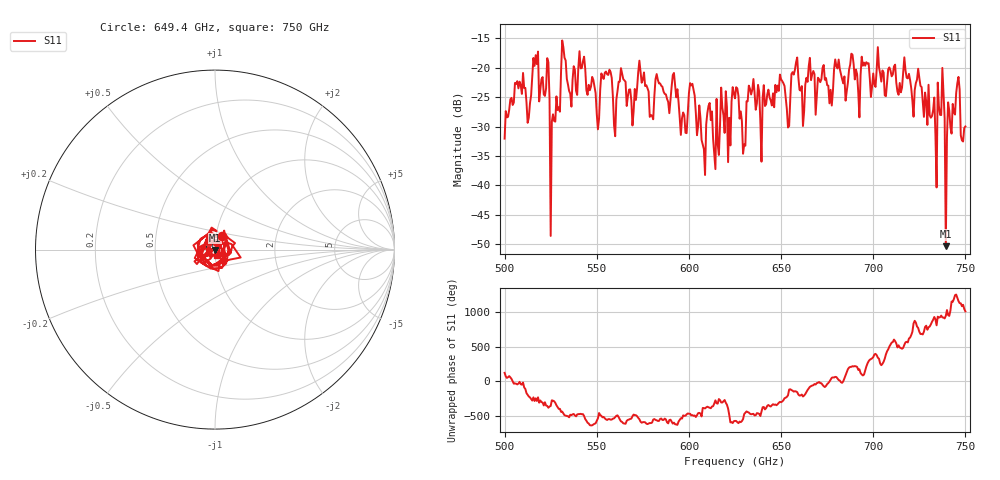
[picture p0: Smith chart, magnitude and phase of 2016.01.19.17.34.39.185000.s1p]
!Created with skrf (http://scikit-rf.org).
# GHz S RI R 50.0
!freq ReS11 ImS11
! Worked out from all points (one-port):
!   401 points, 500 GHz to 750 GHz, reference 50 ohm
!   lowest |S11| = -50.3 dB at 739.4 GHz (marker M1), VSWR 1.01, Z = 49.8 - j0.227 ohm
!   |S11| at or under -10 dB: start of sweep to end of sweep
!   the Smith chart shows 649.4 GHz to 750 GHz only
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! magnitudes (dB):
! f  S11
! 500 GHz  -32.0
! 506.9 GHz  -22.3
! 513.1 GHz  -28.5
! 516.9 GHz  -17.9
! 523.1 GHz  -18.4
! 526.2 GHz  -27.9
! 531.2 GHz  -15.4
! 535.6 GHz  -24.4
! 541.9 GHz  -20.1
! 550.6 GHz  -30.5
! 562.5 GHz  -22.3
! 593.8 GHz  -23.7
! 597.5 GHz  -28.1
! 601.9 GHz  -22.7
! 608.1 GHz  -33.8
! 625 GHz  -25.2
! 629.4 GHz  -34.6
! 633.8 GHz  -24.5
! 650.6 GHz  -22.3
! 653.8 GHz  -30.2
! 656.2 GHz  -20.8
! 687.5 GHz  -19.5
! 718.8 GHz  -21.8
! 733.1 GHz  -25.1
! 736.2 GHz  -28.0
! 739.4 GHz  -50.3
! 745.6 GHz  -22.6
! 750 GHz  -30.0
